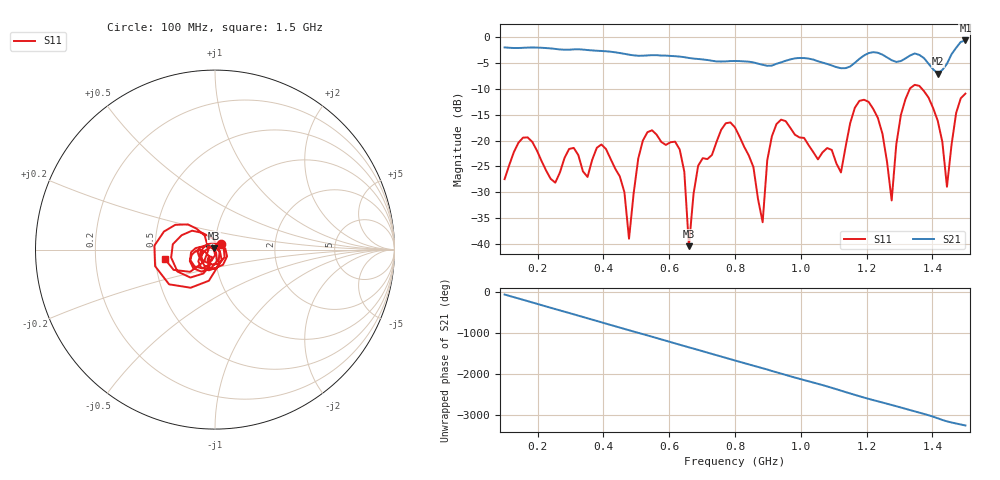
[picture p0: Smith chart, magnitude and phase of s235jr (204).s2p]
! NanoVNA-App
! Date: 2025-09-25 15:05:45
! Start: 100MHz Stop: 1,5GHz Points: 101
! S-Parameter data: F S11 S21 S12 S22
# Hz S RI R 50
!  Frequency  S11_Real  S11_Imag  S21_Real  S21_Imag  S12_Real  S12_Imag  S22_Real  S22_Imag
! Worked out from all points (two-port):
!   101 points, 100 MHz to 1.5 GHz, reference 50 ohm
!   highest |S21| = -0.62 dB at 1.5 GHz (marker M1); lowest = -7.0 dB at 1.416 GHz (marker M2)
!   |S21| within 3 dB of the highest: start of sweep to 605 MHz; 1.19 GHz to 1.255 GHz (64.52 MHz wide, 5.28 % of centre) (the widest 2 of 4)
!   lowest |S11| = -40.4 dB at 660 MHz (marker M3), VSWR 1.02, Z = 49.3 + j0.608 ohm
!   |S11| at or under -10 dB: start of sweep to 1.331 GHz; 1.368 GHz to end of sweep
!   S12 and S22 are empty: the file has one direction only
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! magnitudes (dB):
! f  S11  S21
! 100 MHz  -27.5  -2.0
! 156 MHz  -19.4  -2.0
! 338 MHz  -26.0  -2.4
! 408 MHz  -21.6  -2.7
! 478 MHz  -39.0  -3.4
! 520 MHz  -20.0  -3.6
! 576 MHz  -20.3  -3.5
! 632 MHz  -21.7  -3.7
! 660 MHz  -40.4  -4.0
! 688 MHz  -24.9  -4.2
! 800 MHz  -17.5  -4.6
! 884 MHz  -35.8  -5.3
! 926 MHz  -16.8  -5.1
! 1.038 GHz  -22.2  -4.3
! 1.122 GHz  -26.2  -6.0
! 1.206 GHz  -12.5  -3.1
! 1.276 GHz  -31.6  -4.4
! 1.304 GHz  -15.0  -4.6
! 1.332 GHz  -9.9  -3.5
! 1.416 GHz  -16.2  -7.0
! 1.444 GHz  -28.9  -5.1
! 1.5 GHz  -10.9  -0.6
